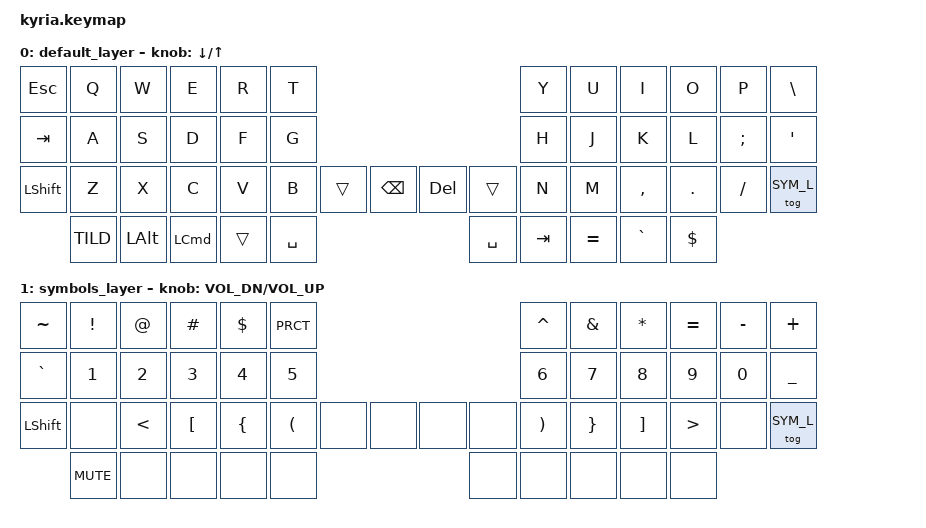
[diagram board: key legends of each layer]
/*
 * Copyright (c) 2020 The ZMK Contributors
 *
 * SPDX-License-Identifier: MIT
 */

#include <behaviors.dtsi>
#include <dt-bindings/zmk/keys.h>

&left_encoder { resolution = <1>; };

#define DEF_L 0  // default layer
#define SYM_L 1  // symbol layer

/ {
	keymap {
		compatible = "zmk,keymap";

		default_layer {
// ------------------------------------------------------------------------------------------------------------------------------------
// |  ESC  |  Q  |  W  |  E    |  R   |  T   |                                          |  Y   |  U    |  I    |  O   |   P   |  \|   |
// |  TAB  |  A  |  S  |  D    |  F   |  G   |                                          |  H   |  J    |  K    |  L   |  ;:   |  '"   |
// | SHIFT |  Z  |  X  |  C    |  V   |  B   |  LPAR   |   DEL   |  |   BSPC  |  RPAR   |  N   |  M    | ,<    | .>   |  /?   | SYM_L |
//                     | PG_UP | ALT  | CMD  | PG_DOWN |  SPACE  |  |  SPACE  |   TAB   | =+   |  `~   |  $    |
			bindings = <
	&kp ESC   &kp Q &kp W &kp E &kp R &kp T                                        &kp Y &kp U  &kp I     &kp O   &kp P    &kp BSLH
	&kp TAB   &kp A &kp S &kp D &kp F &kp G                                        &kp H &kp J  &kp K     &kp L   &kp SEMI &kp SQT
	&kp LSHFT &kp Z &kp X &kp C &kp V &kp B  &trans &kp BSPC    &kp DEL   &trans   &kp N &kp M  &kp COMMA &kp DOT &kp FSLH &tog SYM_L
	             &kp TILD &kp LALT &kp LCMD &trans &kp SPACE    &kp SPACE &kp TAB &kp EQUAL &kp GRAVE &kp DOLLAR
			>;

			sensor-bindings = <&inc_dec_kp DOWN UP>;
		};

		symbols_layer {
// ------------------------------------------------------------------------------------------------------------------------
// |   ~   |  !  |  @  |  #  |  $  |  %  |                                          |  ^  |  &  |  *  |  =  |  -  |   +   |
// |   `   |  1  |  2  |  3  |  4  |  5  |                                          |  6  |  7  |  8  |  9  |  0  |   _   |
// |  SHFT |     |  <  |  [  |  {  |  (  |  none  |  none  |           |      |     |  )  |  }  |  ]  |  >  |     | SYM_L |
//                 | MUTE |     |      |       |       |                      |     |     |      |     |    |


			bindings = <
    &kp TILDE &kp EXCL &kp AT   &kp HASH &kp DOLLAR &kp PRCT                                               &kp CARET &kp AMPS &kp STAR  &kp EQUAL &kp MINUS &kp PLUS
    &kp GRAVE &kp N1   &kp N2   &kp N3   &kp N4     &kp N5                                                 &kp N6    &kp N7   &kp N8    &kp N9    &kp N0    &kp UNDER
	&kp LSHFT &none    &kp LT   &kp LBKT &kp LBRC   &kp LPAR &none &none      &none &none &kp RPAR &kp RBRC &kp RBKT  &kp GT   &none     &tog SYM_L
	  		   &kp C_MUTE &none &none &none &none                                         &none &none &none &none &none
            >;

			sensor-bindings = <&inc_dec_kp C_VOL_DN C_VOL_UP>;
		};
	};
};
